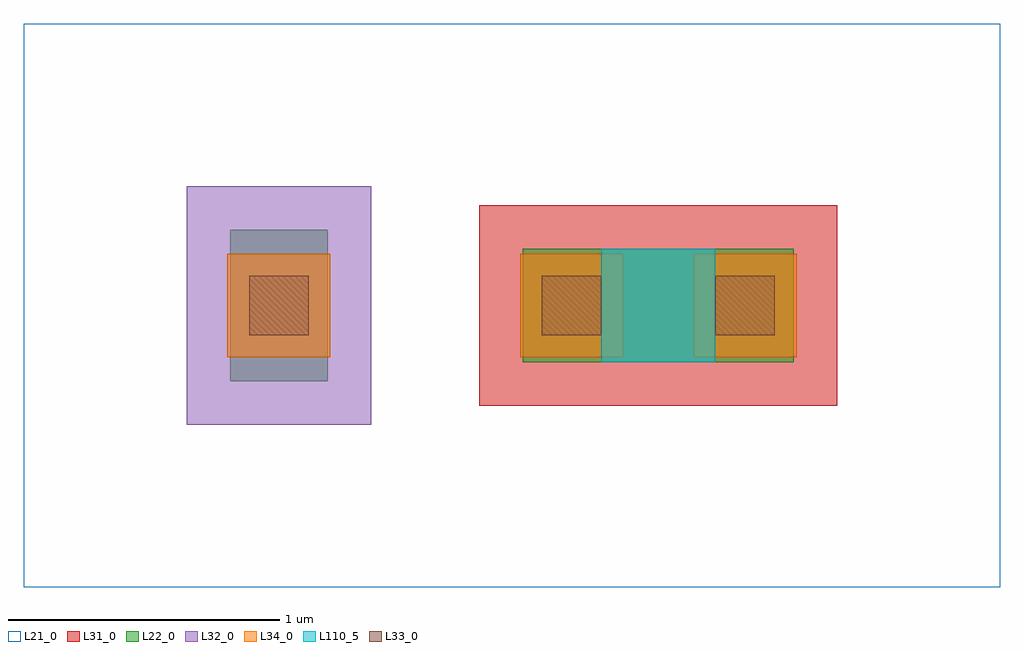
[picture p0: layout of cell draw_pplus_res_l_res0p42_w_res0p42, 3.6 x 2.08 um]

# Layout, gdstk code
import gdstk
lib = gdstk.Library(unit=1e-6, precision=1e-09)
def R(c, l, rs):  # rectangles x0, y0, x1, y1
    for r in rs: c.add(gdstk.rectangle(r[:2], r[2:], *l))
L21_0 = (21, 0)
L22_0 = (22, 0)
L31_0 = (31, 0)
L32_0 = (32, 0)
L33_0 = (33, 0)
L34_0 = (34, 0)
L110_5 = (110, 5)

draw_pplus_res_l_res0p42 = lib.new_cell('draw_pplus_res_l_res0p42_w_res0p42')
R(draw_pplus_res_l_res0p42, L21_0, [(-2.13,-0.83,1.47,1.25)])
R(draw_pplus_res_l_res0p42, L22_0, [(-1.37,-0.07,-1.01,0.49), (-0.29,0,0.71,0.42)])
R(draw_pplus_res_l_res0p42, L31_0, [(-0.45,-0.16,0.87,0.58)])
R(draw_pplus_res_l_res0p42, L32_0, [(-1.53,-0.23,-0.85,0.65)])
R(draw_pplus_res_l_res0p42, L33_0, [(-1.3,0.1,-1.08,0.32), (-0.22,0.1,0,0.32), (0.42,0.1,0.64,0.32)])
R(draw_pplus_res_l_res0p42, L34_0, [(-1.38,0.02,-1,0.4), (-0.3,0.02,0.08,0.4), (0.34,0.02,0.72,0.4)])
R(draw_pplus_res_l_res0p42, L110_5, [(0,0,0.42,0.42)])

lib.write_gds('draw_pplus_res_l_res0p42_w_res0p42.gds')
